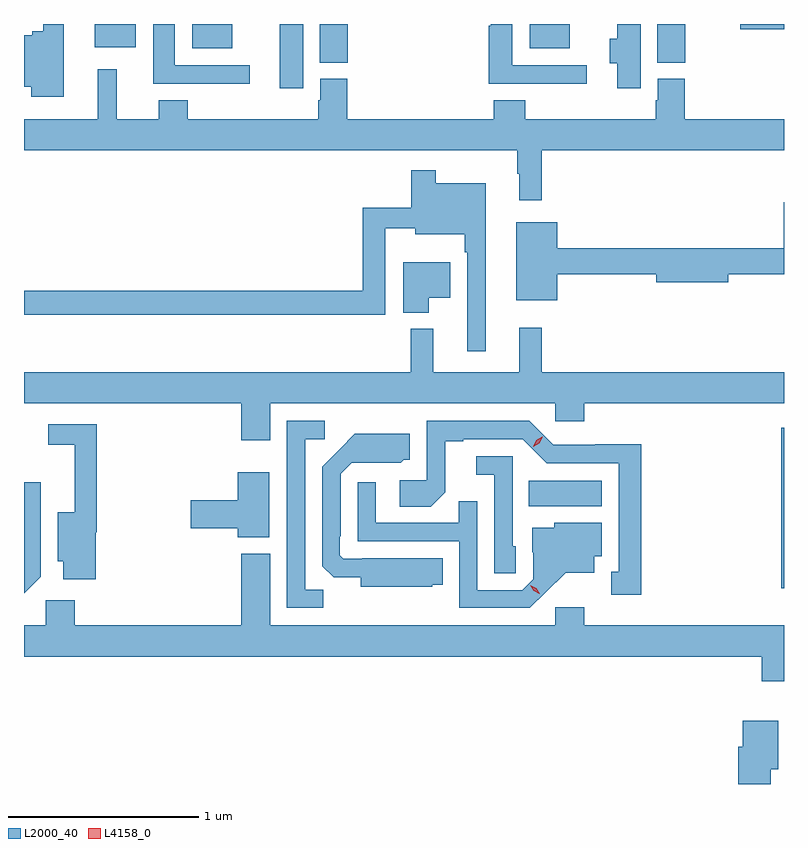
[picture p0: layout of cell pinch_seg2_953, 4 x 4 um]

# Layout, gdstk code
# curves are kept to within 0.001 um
import gdstk
lib = gdstk.Library(unit=1e-6, precision=1e-09)
def R(c, l, rs):  # rectangles x0, y0, x1, y1
    for r in rs: c.add(gdstk.rectangle(r[:2], r[2:], *l))
def P(c, l, *ps):  # polygons
    for p in ps: c.add(gdstk.Polygon(p, *l))
L2000_40 = (2000, 40)
L4158_0 = (4158, 0)

pinch_seg2_953 = lib.new_cell('pinch_seg2_953')
R(pinch_seg2_953, L2000_40, [(329.395,634.674,329.409,635.521), (328.066,635.108,328.45,635.242), (326.756,637.308,326.878,637.645), (326.966,637.441,327.113,637.645), (328.742,637.441,328.889,637.645), (326.294,637.517,326.506,637.645), (328.07,637.517,328.282,637.645), (325.781,637.523,325.996,637.645), (329.18,637.618,329.409,637.645)])
P(pinch_seg2_953, L2000_40, [(325.618,637.645),(325.509,637.645),(325.509,637.606),(325.452,637.606),(325.452,637.585),(325.409,637.585),(325.409,637.316),(325.448,637.316),(325.448,637.262),(325.618,637.262)],
  [(328.372,637.428),(327.979,637.428),(327.979,637.645),(327.866,637.645),(327.866,637.635),(327.854,637.635),(327.854,637.331),(328.372,637.331)],
  [(326.596,637.428),(326.203,637.428),(326.203,637.645),(326.09,637.645),(326.09,637.331),(326.596,637.331)],
  [(328.654,637.645),(328.532,637.645),(328.532,637.567),(328.493,637.567),(328.493,637.438),(328.532,637.438),(328.532,637.308),(328.654,637.308)],
  [(328.005,636.857),(328.016,636.857),(328.016,636.717),(328.133,636.717),(328.133,636.98),(329.409,636.98),(329.409,637.144),(328.886,637.144),(328.886,637.356),(328.745,637.356),(328.745,637.245),(328.733,637.245),(328.733,637.144),(328.046,637.144),(328.046,637.243),(327.881,637.243),(327.881,637.144),(327.11,637.144),(327.11,637.356),(326.969,637.356),(326.969,637.245),(326.957,637.245),(326.957,637.144),(326.27,637.144),(326.27,637.243),(326.117,637.243),(326.117,637.144),(325.896,637.144),(325.896,637.408),(325.796,637.408),(325.796,637.144),(325.409,637.144),(325.409,636.98),(328.005,636.98)],
  [(327.838,636.808),(327.577,636.808),(327.577,636.874),(327.448,636.874),(327.448,636.679),(327.193,636.679),(327.193,636.242),(325.409,636.242),(325.409,636.114),(327.309,636.114),(327.309,636.569),(327.467,636.569),(327.467,636.539),(327.729,636.539),(327.729,636.443),(327.741,636.443),(327.741,635.922),(327.838,635.922)],
  [(328.216,636.328),(328.736,636.328),(328.736,636.286),(329.116,636.286),(329.116,636.328),(329.409,636.328),(329.409,636.708),(329.408,636.708),(329.408,636.464),(328.216,636.464),(328.216,636.601),(328.001,636.601),(328.001,636.191),(328.216,636.191)],
  [(327.538,636.203),(327.652,636.203),(327.652,636.391),(327.404,636.391),(327.404,636.125),(327.538,636.125)],
  [(326.704,635.648),(328.206,635.648),(328.206,635.555),(328.358,635.555),(328.358,635.648),(329.409,635.648),(329.409,635.812),(328.133,635.812),(328.133,636.046),(328.016,636.046),(328.016,635.812),(327.563,635.812),(327.563,636.04),(327.445,636.04),(327.445,635.812),(325.409,635.812),(325.409,635.648),(326.552,635.648),(326.552,635.454),(326.704,635.454)],
  [(328.657,635.432),(328.416,635.432),(328.416,635.43),(328.194,635.43),(328.068,635.556),(327.528,635.556),(327.528,635.244),(327.387,635.244),(327.387,635.104),(327.551,635.104),(327.627,635.18),(327.627,635.448),(327.721,635.448),(327.721,635.46),(328.035,635.46),(328.161,635.334),(328.538,635.334),(328.538,634.761),(328.499,634.761),(328.499,634.641),(328.657,634.641)],
  [(326.985,634.667),(326.889,634.667),(326.889,635.46),(326.992,635.46),(326.992,635.556),(326.793,635.556),(326.793,634.572),(326.985,634.572)],
  [(325.787,634.97),(325.793,634.97),(325.793,635.538),(325.536,635.538),(325.536,635.43),(325.676,635.43),(325.676,635.074),(325.586,635.074),(325.586,634.817),(325.616,634.817),(325.616,634.722),(325.787,634.722)],
  [(327.558,634.694),(327.614,634.694),(327.614,634.834),(327.19,634.834),(327.19,634.83),(327.09,634.83),(327.072,634.848),(327.072,634.948),(327.075,634.948),(327.075,635.277),(327.135,635.337),(327.392,635.336),(327.408,635.352),(327.439,635.352),(327.439,635.488),(327.151,635.488),(326.979,635.314),(326.979,634.792),(327.038,634.733),(327.182,634.733),(327.182,634.682),(327.558,634.682)],
  [(327.996,634.896),(327.981,634.896),(327.981,635.37),(327.789,635.37),(327.789,635.273),(327.885,635.273),(327.885,634.753),(327.996,634.753)],
  [(326.701,635.287),(326.534,635.287),(326.534,635.138),(326.286,635.138),(326.286,634.991),(326.534,634.991),(326.534,634.943),(326.701,634.943)],
  [(328.156,634.655),(328.259,634.757),(328.411,634.757),(328.411,634.844),(328.45,634.844),(328.45,635.02),(328.2,635.02),(328.2,634.993),(328.085,634.993),(328.085,634.864),(328.089,634.864),(328.089,634.722),(328.032,634.665),(327.795,634.665),(327.795,635.132),(327.697,635.132),(327.697,635.019),(327.261,635.019),(327.261,635.233),(327.165,635.233),(327.165,634.923),(327.699,634.923),(327.699,634.572),(328.072,634.572)],
  [(325.497,634.737),(325.497,635.233),(325.409,635.233),(325.409,634.649)],
  [(329.409,634.48),(328.358,634.48),(328.358,634.576),(328.206,634.576),(328.206,634.48),(326.704,634.48),(326.704,634.858),(326.552,634.858),(326.552,634.48),(325.676,634.48),(325.676,634.612),(325.524,634.612),(325.524,634.48),(325.409,634.48),(325.409,634.316),(329.291,634.316),(329.291,634.185),(329.409,634.185)],
  [(329.338,633.722),(329.38,633.722),(329.38,633.979),(329.192,633.979),(329.192,633.84),(329.168,633.84),(329.168,633.645),(329.338,633.645)])
P(pinch_seg2_953, L4158_0, [(328.088,635.42),(328.088,635.42),(328.106,635.453),(328.137,635.472),(328.138,635.472),(328.138,635.472),(328.12,635.439),(328.088,635.42)],
  [(328.122,634.646),(328.091,634.661),(328.074,634.69),(328.074,634.69),(328.074,634.69),(328.105,634.676),(328.123,634.647),(328.123,634.646)])

lib.write_gds('pinch_seg2_953.gds')
